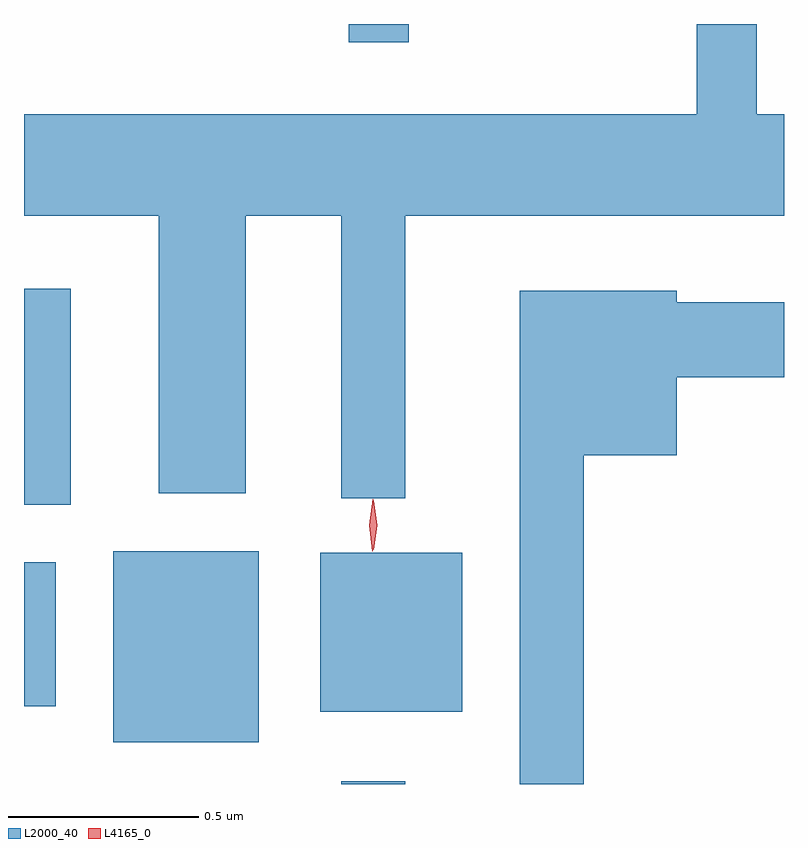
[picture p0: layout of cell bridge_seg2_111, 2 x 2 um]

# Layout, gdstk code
import gdstk
lib = gdstk.Library(unit=1e-6, precision=1e-09)
def R(c, l, rs):  # rectangles x0, y0, x1, y1
    for r in rs: c.add(gdstk.rectangle(r[:2], r[2:], *l))
def P(c, l, *ps):  # polygons
    for p in ps: c.add(gdstk.Polygon(p, *l))
L2000_40 = (2000, 40)
L4165_0 = (4165, 0)

bridge_seg2_111 = lib.new_cell('bridge_seg2_111')
R(bridge_seg2_111, L2000_40, [(909.471,1046.821,909.639,1046.828), (908.871,1046.931,909.254,1047.434), (909.416,1047.011,909.789,1047.429), (908.636,1047.026,908.719,1047.404), (908.636,1047.556,908.759,1048.124), (909.491,1048.773,909.649,1048.821)])
P(bridge_seg2_111, L2000_40, [(909.639,1048.316),(910.636,1048.316),(910.636,1048.584),(910.564,1048.584),(910.564,1048.821),(910.406,1048.821),(910.406,1048.584),(908.636,1048.584),(908.636,1048.316),(908.991,1048.316),(908.991,1047.586),(909.219,1047.586),(909.219,1048.316),(909.471,1048.316),(909.471,1047.573),(909.639,1047.573)],
  [(910.109,1047.686),(910.354,1047.686),(910.354,1047.891),(910.636,1047.891),(910.636,1048.089),(910.354,1048.089),(910.354,1048.119),(909.941,1048.119),(909.941,1046.821),(910.109,1046.821)])
P(bridge_seg2_111, L4165_0, [(909.553,1047.434),(909.544,1047.502),(909.554,1047.57),(909.555,1047.57),(909.555,1047.57),(909.564,1047.502),(909.554,1047.434),(909.554,1047.434)],
  [(909.556,1047.438),(909.556,1047.438),(909.546,1047.502),(909.555,1047.566),(909.555,1047.567),(909.556,1047.566),(909.565,1047.502),(909.556,1047.438)])

lib.write_gds('bridge_seg2_111.gds')
